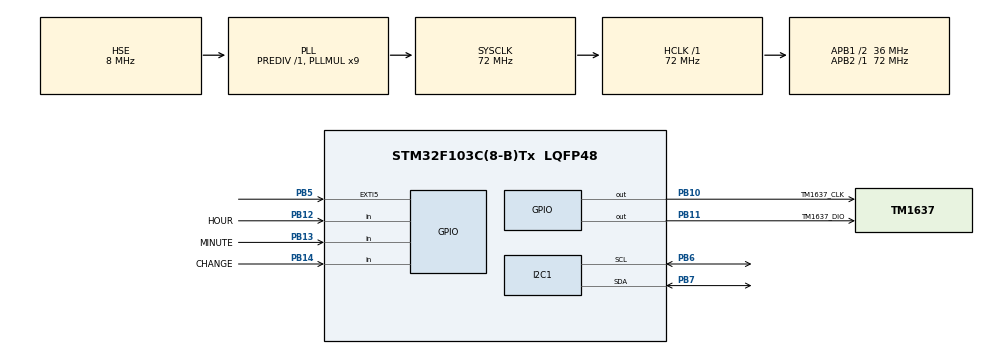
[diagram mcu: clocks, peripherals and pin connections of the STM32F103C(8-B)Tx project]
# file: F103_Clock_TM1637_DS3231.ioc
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I2C1.I2C_Mode=I2C_Standard
Mcu.Family=STM32F1
Mcu.Name=STM32F103C(8-B)Tx
Mcu.Package=LQFP48
NVIC.I2C1_EV_IRQn=true\:0\:0\:false\:false\:true\:true\:true
NVIC.PriorityGroup=NVIC_PRIORITYGROUP_4
NVIC.TIM2_IRQn=true\:0\:0\:false\:false\:true\:true\:true
PA13.Mode=Serial_Wire
PA13.Signal=SYS_JTMS-SWDIO
PA14.Mode=Serial_Wire
PA14.Signal=SYS_JTCK-SWCLK
PB10.GPIO_Label=TM1637_CLK
PB10.GPIO_ModeDefaultOutputPP=GPIO_MODE_OUTPUT_PP
PB10.GPIO_PuPd=GPIO_NOPULL
PB10.GPIO_Speed=GPIO_SPEED_FREQ_HIGH
PB10.PinState=GPIO_PIN_SET
PB10.Signal=GPIO_Output
PB11.GPIO_Label=TM1637_DIO
PB11.GPIO_ModeDefaultOutputPP=GPIO_MODE_OUTPUT_PP
PB11.GPIO_PuPd=GPIO_NOPULL
PB11.GPIO_Speed=GPIO_SPEED_FREQ_HIGH
PB11.PinState=GPIO_PIN_SET
PB11.Signal=GPIO_Output
PB12.GPIO_Label=HOUR
PB12.GPIO_PuPd=GPIO_PULLUP
PB12.Signal=GPIO_Input
PB13.GPIO_Label=MINUTE
PB13.GPIO_PuPd=GPIO_PULLUP
PB13.Signal=GPIO_Input
PB14.GPIO_Label=CHANGE
PB14.GPIO_PuPd=GPIO_PULLUP
PB14.Signal=GPIO_Input
PB5.Signal=GPXTI5
PB6.Mode=I2C
PB6.Signal=I2C1_SCL
PB7.Mode=I2C
PB7.Signal=I2C1_SDA
PD0-OSC_IN.Mode=HSE-External-Oscillator
PD0-OSC_IN.Signal=RCC_OSC_IN
PD1-OSC_OUT.Mode=HSE-External-Oscillator
PD1-OSC_OUT.Signal=RCC_OSC_OUT
ProjectManager.HeapSize=0x200
ProjectManager.StackSize=0x400
ProjectManager.TargetToolchain=SW4STM32
RCC.AHBFreq_Value=72000000
RCC.APB1CLKDivider=RCC_HCLK_DIV2
RCC.APB1Freq_Value=36000000
RCC.APB1TimFreq_Value=72000000
RCC.APB2Freq_Value=72000000
RCC.APB2TimFreq_Value=72000000
RCC.HCLKFreq_Value=72000000
RCC.PLLMUL=RCC_PLL_MUL9
RCC.PLLSourceVirtual=RCC_PLLSOURCE_HSE
RCC.SYSCLKFreq_VALUE=72000000
RCC.SYSCLKSource=RCC_SYSCLKSOURCE_PLLCLK
RCC.USBFreq_Value=72000000
TIM2.Period=1
TIM2.Prescaler=7200-1
VP_TIM2_VS_ClockSourceINT.Mode=Internal
board=custom

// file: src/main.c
/* USER CODE BEGIN Header */
/**
 ******************************************************************************
 * @file           : main.c
 * @brief          : Main program body
 ******************************************************************************
 * @attention
 *
 * <h2><center>&copy; Copyright (c) 2019 STMicroelectronics.
 * All rights reserved.</center></h2>
 *
 * This software component is licensed by ST under BSD 3-Clause license,
 * the "License"; You may not use this file except in compliance with the
 * License. You may obtain a copy of the License at:
 *                        opensource.org/licenses/BSD-3-Clause
 *
 ******************************************************************************
 */
/* USER CODE END Header */

#include "main.h"
#include "i2c.h"
#include "tim.h"
#include "gpio.h"

/* USER CODE BEGIN Includes */
#include "stm32_ds3231.h"
#include "stm32_tm1637.h"
/* USER CODE END Includes */

/* USER CODE BEGIN PTD */
uint16_t counter = 0;
uint8_t flag = 0;
/* USER CODE END PTD */

/* USER CODE BEGIN PD */
_RTC rtc = {
		.Year = 19, .Month = 8, .Date = 6,
		.DaysOfWeek = TUESDAY,
		.Hour = 17, .Min = 30, .Sec = 12
};

extern uint8_t dot;
/* USER CODE END PD */

/* USER CODE BEGIN PV */
/* Private variables ---------------------------------------------------------*/

/* USER CODE END PV */

void SystemClock_Config(void);
/* USER CODE BEGIN PFP */
/* Private function prototypes -----------------------------------------------*/

/* USER CODE END PFP */

/* USER CODE BEGIN 0 */

uint8_t regVal;
float rtcTemp;
/* USER CODE END 0 */

int main(void)
{

	/* MCU Configuration--------------------------------------------------------*/

	/* Reset of all peripherals, Initializes the Flash interface and the Systick. */
	HAL_Init();

	/* Configure the system clock */
	SystemClock_Config();

	/* Initialize all configured peripherals */
	MX_GPIO_Init();
	MX_I2C1_Init();
	MX_TIM2_Init();
	/* USER CODE BEGIN 2 */
	DS3231_Init(&hi2c1);
	tm1637SetBrightness(7);

	HAL_TIM_Base_Start_IT(&htim2);
	/* USER CODE END 2 */

	/* Infinite loop */
	/* USER CODE BEGIN WHILE */
	while (1)
	{
		// Read time data from DS3231
		DS3231_GetTime(&rtc);

		// Buttons processing
			if (!(HAL_GPIO_ReadPin(GPIOB, GPIO_PIN_14)) && !(HAL_GPIO_ReadPin(GPIOB, GPIO_PIN_13))) {   // Changing hours
			rtc.Sec = 0;                           														// Reset seconds
			rtc.Hour++;
			if (rtc.Hour > 23) rtc.Hour = 0;
			DS3231_SetTime(&rtc);
			HAL_Delay(200);
		}
		if (!(HAL_GPIO_ReadPin(GPIOB, GPIO_PIN_14)) && !(HAL_GPIO_ReadPin(GPIOB, GPIO_PIN_12))) {   	// Changing minutes
			rtc.Sec = 0;
			rtc.Min++;
			if (rtc.Min > 59) rtc.Min = 0;
			DS3231_SetTime(&rtc);
			HAL_Delay(200);
		}

		int time = (rtc.Hour * 100) + rtc.Min;
		tm1637DisplayDecimal(time, dot);

		/* USER CODE END WHILE */

	}
}

void SystemClock_Config(void)
{
	RCC_OscInitTypeDef RCC_OscInitStruct = {0};
	RCC_ClkInitTypeDef RCC_ClkInitStruct = {0};

	/** Initializes the CPU, AHB and APB busses clocks
	 */
	RCC_OscInitStruct.OscillatorType = RCC_OSCILLATORTYPE_HSE;
	RCC_OscInitStruct.HSEState = RCC_HSE_ON;
	RCC_OscInitStruct.HSEPredivValue = RCC_HSE_PREDIV_DIV1;
	RCC_OscInitStruct.HSIState = RCC_HSI_ON;
	RCC_OscInitStruct.PLL.PLLState = RCC_PLL_ON;
	RCC_OscInitStruct.PLL.PLLSource = RCC_PLLSOURCE_HSE;
	RCC_OscInitStruct.PLL.PLLMUL = RCC_PLL_MUL9;
	if (HAL_RCC_OscConfig(&RCC_OscInitStruct) != HAL_OK)
	{
		Error_Handler();
	}
	/** Initializes the CPU, AHB and APB busses clocks
	 */
	RCC_ClkInitStruct.ClockType = RCC_CLOCKTYPE_HCLK|RCC_CLOCKTYPE_SYSCLK
			|RCC_CLOCKTYPE_PCLK1|RCC_CLOCKTYPE_PCLK2;
	RCC_ClkInitStruct.SYSCLKSource = RCC_SYSCLKSOURCE_PLLCLK;
	RCC_ClkInitStruct.AHBCLKDivider = RCC_SYSCLK_DIV1;
	RCC_ClkInitStruct.APB1CLKDivider = RCC_HCLK_DIV2;
	RCC_ClkInitStruct.APB2CLKDivider = RCC_HCLK_DIV1;

	if (HAL_RCC_ClockConfig(&RCC_ClkInitStruct, FLASH_LATENCY_2) != HAL_OK)
	{
		Error_Handler();
	}
}

void Error_Handler(void)
{
	while(1)
	{
	}
}

/************************ (C) COPYRIGHT STMicroelectronics *****END OF FILE****/
